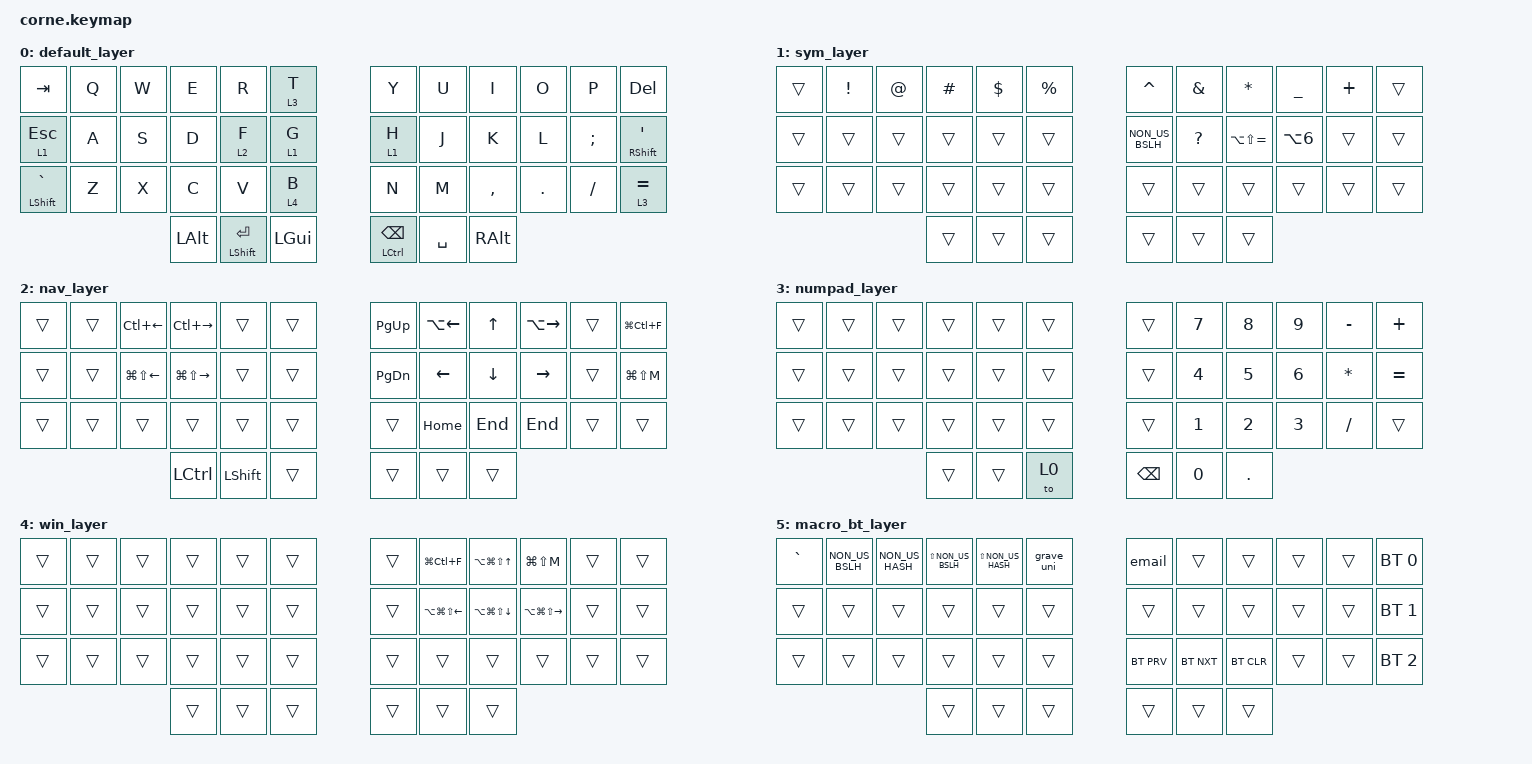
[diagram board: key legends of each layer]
/*
 * Copyright (c) 2020 The ZMK Contributors
 *
 * SPDX-License-Identifier: MIT
 */

#include <behaviors.dtsi>
#include <dt-bindings/zmk/keys.h>
#include <dt-bindings/zmk/bt.h>

&mt {
    tapping-term-ms = <100>;
    quick-tap-ms = <200>;
    flavor = "balanced";
};

&lt {
    tapping-term-ms = <200>;
    quick-tap-ms = <200>;
    flavor = "balanced";
};

&nice_view_spi {
    cs-gpios = <&pro_micro 8 GPIO_ACTIVE_HIGH>;
};

/ {
    behaviors {
        mt_slow: mt_slow {
            compatible = "zmk,behavior-hold-tap";
            #binding-cells = <2>;

            flavor = "balanced";
            tapping-term-ms = <300>;
            quick-tap-ms = <200>;

            bindings = <&kp>, <&kp>;
        };
    };
};

/ {
    macros {
        arrow: arrow {
            compatible = "zmk,behavior-macro";
            #binding-cells = <0>;
            bindings = <&kp MINUS>, <&kp LS(DOT)>;
        };
        email: email {
            compatible = "zmk,behavior-macro";
            #binding-cells = <0>;
            wait-ms = <10>;
            tap-ms = <10>;
            bindings = <&kp COLON>, <&kp E>, <&kp M>, <&kp A>, <&kp I>, <&kp L>;
        };
        cmail: cmail {
            compatible = "zmk,behavior-macro";
            #binding-cells = <0>;
            wait-ms = <10>;
            tap-ms = <10>;
            bindings = <&kp COLON>, <&kp C>, <&kp M>, <&kp A>, <&kp I>, <&kp L>;
        };
        // TEMP: various attempts to produce a backtick
        grave_uni: grave_uni {
            compatible = "zmk,behavior-macro";
            #binding-cells = <0>;
            bindings = <&macro_press &kp LALT>, <&macro_tap &kp N0 &kp N0 &kp N6 &kp N0>, <&macro_release &kp LALT>;
        };
    };

    combos {
        compatible = "zmk,combos";

        // TAB+Q → @
        combo_at    { timeout-ms = <50>; key-positions = <0 1>;      bindings = <&kp DQT>; };
        // Q+W → #
        combo_hash  { timeout-ms = <50>; key-positions = <1 2>;      bindings = <&kp NON_US_HASH>; };
        // W+E → "
        combo_dblquote { timeout-ms = <25>; key-positions = <2 3>;   bindings = <&kp AT>; };
        // R+T → *
        combo_star  { timeout-ms = <30>; key-positions = <4 5>;      bindings = <&kp ASTERISK>; };
        // V+B → _
        combo_under { timeout-ms = <50>; key-positions = <28 29>;    bindings = <&kp UNDER>; };
        // Y+U → (
        combo_lpar  { timeout-ms = <30>; key-positions = <6 7>;      bindings = <&kp LPAR>; };
        // U+I → )
        combo_rpar  { timeout-ms = <25>; key-positions = <7 8>;      bindings = <&kp RPAR>; };
        // H+J → [
        combo_lbkt  { timeout-ms = <30>; key-positions = <18 19>;    bindings = <&kp LBKT>; };
        // J+K → ]
        combo_rbkt  { timeout-ms = <30>; key-positions = <19 20>;    bindings = <&kp RBKT>; };
        // N+M → {
        combo_lbrc  { timeout-ms = <30>; key-positions = <30 31>;    bindings = <&kp LBRC>; };
        // M+, → }
        combo_rbrc  { timeout-ms = <30>; key-positions = <31 32>;    bindings = <&kp RBRC>; };
        // U+I+O → :
        combo_colon { timeout-ms = <50>; key-positions = <7 8 9>;    bindings = <&kp COLON>; };
        // ,+. → <
        combo_lt    { timeout-ms = <30>; key-positions = <32 33>;    bindings = <&kp LS(COMMA)>; };
        // .+/ → >
        combo_gt    { timeout-ms = <30>; key-positions = <33 34>;    bindings = <&kp LS(DOT)>; };
        // M+,+. → ~ 
        combo_tilde { timeout-ms = <50>; key-positions = <31 32 33>; bindings = <&kp LS(NON_US_HASH)>; };
        // J+K+L → |
        // macOS ISO/ANSI issue: sometimes produces ¬ instead of |, revert to: &kp LS(NON_US_BSLH) if necessary
        combo_pipe { timeout-ms = <50>; key-positions = <19 20 21>; bindings = <&kp LS(GRAVE)>; };
        // N+M+, → Ctrl+G
        combo_ctrlg  { timeout-ms = <50>; key-positions = <30 31 32>; bindings = <&kp LC(G)>; };
        // Z+X → \
        combo_bslh  { timeout-ms = <50>; key-positions = <25 26>; bindings = <&kp NON_US_BSLH>; };
        // P+DEL → -
        combo_minus { timeout-ms = <30>; key-positions = <10 11>; bindings = <&kp MINUS>; };
        // ;+' → +
        combo_plus  { timeout-ms = <30>; key-positions = <22 23>; bindings = <&kp PLUS>; };
        // right 3 thumb keys → numpad layer
        combo_numpad { timeout-ms = <50>; key-positions = <39 40 41>; bindings = <&to 3>; layers = <0>; };
        // left 3 thumb keys → macro layer (momentary)
        combo_winlyr { timeout-ms = <50>; key-positions = <36 37 38>; bindings = <&mo 5>; };
    };

    keymap {
        compatible = "zmk,keymap";

        default_layer {
// ╭──────────────┬───────┬───────┬───────┬───────────┬─────────╮   ╭─────────┬─────────┬─────────┬─────────┬───────────┬─────────╮
// │      TAB     │   Q   │   W   │   E   │     R     │  LT3/T  │   │    Y    │    U    │    I    │    O    │     P     │   DEL   │
// │    LT1/ESC   │   A   │   S   │   D   │   LT2/F   │  LT1/G  │   │  LT1/H  │    J    │    K    │    L    │     ;     │  SFT/'  │
// │    SFT/`     │   Z   │   X   │   C   │     V     │  LT4/B  │   │    N    │    M    │    ,    │    .    │     /     │  LT3/=  │
// ╰──────────────┴───────┴───────┼───────┼───────────┼─────────┤   ├─────────┼─────────┼─────────┴─────────┴───────────┴─────────╯
//                                │  LALT │  SFT/ENT  │   GUI   │   │ CTL/BSP │   SPC   │  RALT   │
//                                ╰───────┴───────────┴─────────╯   ╰─────────┴─────────┴─────────╯
            bindings = <
   &kp TAB          &kp Q       &kp W  &kp E    &kp R          &lt 3 T     &kp Y               &kp U      &kp I      &kp O    &kp P       &kp DEL
   &lt 1 ESC        &kp A       &kp S  &kp D    &lt 2 F        &lt 1 G     &lt 1 H             &kp J      &kp K      &kp L    &kp SEMI    &mt RSHFT SQT
   &mt LSHFT GRAVE  &kp Z       &kp X  &kp C    &kp V          &lt 4 B     &kp N               &kp M      &kp COMMA  &kp DOT  &kp FSLH    &lt 3 EQUAL
                                       &kp LALT &mt LSHFT RET  &kp LGUI    &mt_slow LCTRL BSPC &kp SPACE  &kp RALT
            >;
        };

        sym_layer {
// ╭───────┬───────┬───────┬───────┬───────┬───────╮   ╭───────┬───────┬───────┬───────┬───────┬───────╮
// │       │   !   │   "   │   £   │   $   │   %   │   │   ^   │   &   │   *   │   _   │   +   │       │
// │       │       │       │       │       │       │   │   `   │   ?   │   ±   │   §   │       │       │
// │       │       │       │       │       │       │   │       │       │       │       │       │       │
// ╰───────┴───────┴───────┼───────┼───────┼───────┤   ├───────┼───────┼───────┴───────┴───────┴───────╯
//                         │       │       │       │   │       │       │       │
//                         ╰───────┴───────┴───────╯   ╰───────┴───────┴───────╯
            bindings = <
   &trans    &kp EXCL  &kp AT  &kp HASH  &kp DLLR  &kp PRCNT   &kp CARET        &kp AMPS   &kp STAR           &kp UNDER   &kp PLUS   &trans
   &trans    &trans    &trans  &trans    &trans    &trans      &kp NON_US_BSLH  &kp QMARK  &kp LA(LS(EQUAL))  &kp LA(N6)  &trans     &trans
   &trans    &trans    &trans  &trans    &trans    &trans      &trans           &trans     &trans             &trans      &trans     &trans
                               &trans    &trans    &trans      &trans           &trans     &trans
            >;
        };

        nav_layer {
// ╭─────┬─────┬─────────┬───────────┬───────┬──────╮   ╭───────┬─────────┬───────┬─────────┬─────┬─────────╮
// │     │     │   C-←   │    C-→    │       │      │   │  PGU  │   A-←   │   ↑   │   A-→   │     │  G-C-F  │
// │     │     │  G-S-←  │   G-S-→   │       │      │   │  PGD  │    ←    │   ↓   │    →    │     │  G-S-M  │
// │     │     │         │           │       │      │   │       │   HOM   │  END  │   END   │     │         │
// ╰─────┴─────┴─────────┼───────────┼───────┼──────┤   ├───────┼─────────┼───────┴─────────┴─────┴─────────╯
//                       │    SFT    │  CTL  │      │   │       │         │       │
//                       ╰───────────┴───────┴──────╯   ╰───────┴─────────┴───────╯
            bindings = <
   &trans  &trans  &kp LC(LEFT)      &kp LC(RIGHT)      &trans     &trans   &kp PG_UP  &kp LA(LEFT)  &kp UP    &kp LA(RIGHT)  &trans  &kp LG(LC(F))
   &trans  &trans  &kp LG(LS(LEFT))  &kp LG(LS(RIGHT))  &trans     &trans   &kp PG_DN  &kp LEFT      &kp DOWN  &kp RIGHT      &trans  &kp LG(LS(M))
   &trans  &trans  &trans            &trans             &trans     &trans   &trans     &kp HOME      &kp END   &kp END        &trans  &trans
                                     &kp LCTRL          &kp LSHFT  &trans   &trans     &trans        &trans
            >;
        };

        numpad_layer {
// ╭───────┬───────┬───────┬───────┬───────┬───────╮   ╭───────┬────────┬────────┬────────┬─────────────┬───────╮
// │       │       │       │       │       │       │   │       │   7    │   8    │   9    │      -      │   +   │
// │       │       │       │       │       │       │   │       │   4    │   5    │   6    │      *      │   =   │
// │       │       │       │       │       │       │   │       │   1    │   2    │   3    │      /      │       │
// ╰───────┴───────┴───────┼───────┼───────┼───────┤   ├───────┼────────┼────────┴────────┴─────────────┴───────╯
//                         │       │       │  DEF  │   │ BSP   │   0    │   .    │
//                         ╰───────┴───────┴───────╯   ╰───────┴────────┴────────╯
            bindings = <
   &trans  &trans  &trans  &trans  &trans  &trans   &trans   &kp N7  &kp N8  &kp N9  &kp MINUS    &kp PLUS
   &trans  &trans  &trans  &trans  &trans  &trans   &trans   &kp N4  &kp N5  &kp N6  &kp ASTERISK &kp EQUAL
   &trans  &trans  &trans  &trans  &trans  &trans   &trans   &kp N1  &kp N2  &kp N3  &kp FSLH     &trans
                           &trans  &trans  &to 0    &kp BSPC &kp N0  &kp DOT
            >;
        };

        win_layer {
// ╭───────┬───────┬───────┬───────┬───────┬───────╮   ╭───────┬───────────┬───────────┬───────────┬───────┬───────╮
// │       │       │       │       │       │       │   │       │  G-C-F    │  A-G-S-↑  │   G-S-M   │       │       │
// │       │       │       │       │       │       │   │       │  A-G-S-←  │  A-G-S-↓  │  A-G-S-→  │       │       │
// │       │       │       │       │       │       │   │       │           │           │           │       │       │
// ╰───────┴───────┴───────┼───────┼───────┼───────┤   ├───────┼───────────┼───────────┴───────────┴───────┴───────╯
//                         │       │       │       │   │       │           │           │
//                         ╰───────┴───────┴───────╯   ╰───────┴───────────┴───────────╯
            bindings = <
   &trans  &trans  &trans  &trans  &trans  &trans   &trans  &kp LG(LC(F))        &kp LA(LG(LS(UP)))    &kp LG(LS(M))           &trans  &trans
   &trans  &trans  &trans  &trans  &trans  &trans   &trans  &kp LA(LG(LS(LEFT))) &kp LA(LG(LS(DOWN)))  &kp LA(LG(LS(RIGHT)))   &trans  &trans
   &trans  &trans  &trans  &trans  &trans  &trans   &trans  &trans               &trans                &trans                  &trans  &trans
                           &trans  &trans  &trans   &trans  &trans               &trans
            >;
        };

        macro_bt_layer {
// TEMP: add debug keys for backtick 
// ╭───────┬───────┬───────┬────────┬───────┬───────╮   ╭───────┬───────┬───────┬───────┬───────┬───────╮
// │ GRAVE │NUBSLH │ NUHS  │S-NUBSLH│ S-NUHS│  UNI  │   │ email │ cmail │       │       │       │ BT 0  │
// │       │       │       │        │       │       │   │       │       │       │       │       │ BT 1  │
// │       │       │       │        │       │       │   │ BTPRV │ BTNXT │ BTCLR │       │       │ BT 2  │
// ╰───────┴───────┴───────┼────────┼───────┼───────┤   ├───────┼───────┼───────┴───────┴───────┴───────╯
//                         │        │       │       │   │       │       │       │
//                         ╰────────┴───────┴───────╯   ╰───────┴───────┴───────╯
            bindings = <
   &kp GRAVE  &kp NON_US_BSLH  &kp NON_US_HASH  &kp LS(NON_US_BSLH)  &kp LS(NON_US_HASH)  &grave_uni   &email      &trans      &trans      &trans  &trans  &bt BT_SEL 0
   &trans     &trans           &trans           &trans               &trans               &trans       &trans      &trans      &trans      &trans  &trans  &bt BT_SEL 1
   &trans     &trans           &trans           &trans               &trans               &trans       &bt BT_PRV  &bt BT_NXT  &bt BT_CLR  &trans  &trans  &bt BT_SEL 2
                                                                      &trans  &trans  &trans   &trans      &trans      &trans
            >;
        };
    };
};
